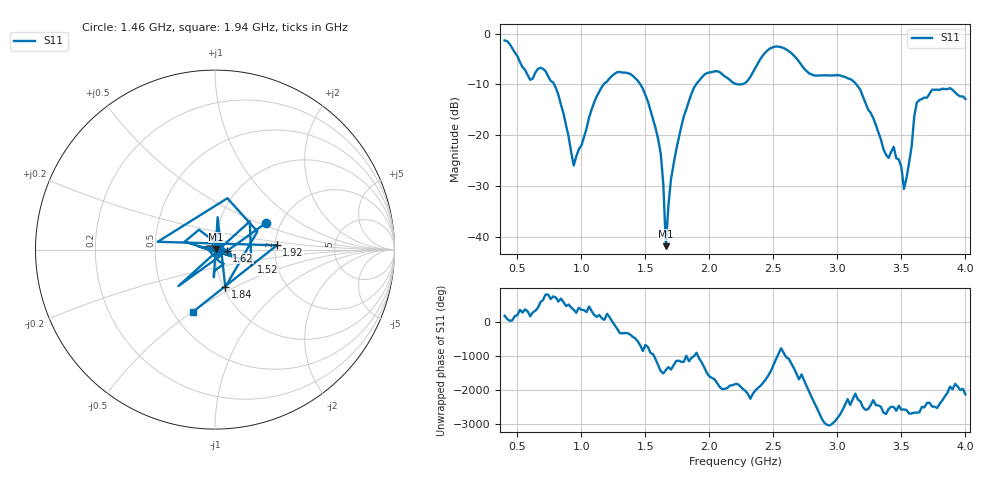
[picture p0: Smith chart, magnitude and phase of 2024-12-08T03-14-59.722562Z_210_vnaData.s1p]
!Created with skrf (http://scikit-rf.org).
# Hz S RI R 50.0
!freq ReS11 ImS11
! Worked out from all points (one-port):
!   181 points, 400 MHz to 4 GHz, reference 50 ohm
!   lowest |S11| = -41.8 dB at 1.66 GHz (marker M1), VSWR 1.02, Z = 50.7 + j0.414 ohm
!   |S11| at or under -10 dB: 787.2 MHz to 1.174 GHz (386.4 MHz wide, 39.4 % of centre); 1.461 GHz to 1.896 GHz (434.4 MHz wide, 25.9 % of centre); 3.148 GHz to end of sweep (the widest 3 of 4)
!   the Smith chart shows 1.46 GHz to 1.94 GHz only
!   S11 on the Smith chart (normalised r, x): 1.46 GHz: 1.67, +0.55; 1.52 GHz: 1.49, -0.22; 1.62 GHz: 1.14, -0.01; 1.84 GHz: 1.02, -0.45; 1.92 GHz: 2.05, +0.11; 1.94 GHz: 0.62, -0.50
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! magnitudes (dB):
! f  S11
! 400 MHz  -1.3
! 600 MHz  -9.1
! 720 MHz  -7.4
! 860 MHz  -15.7
! 940 MHz  -25.9
! 1.12 GHz  -12.3
! 1.3 GHz  -7.6
! 1.46 GHz  -9.9
! 1.52 GHz  -13.4
! 1.62 GHz  -23.7
! 1.64 GHz  -29.7
! 1.66 GHz  -41.8
! 1.7 GHz  -28.6
! 1.76 GHz  -20.6
! 1.84 GHz  -13.3
! 1.92 GHz  -9.2
! 1.94 GHz  -8.6
! 2.2 GHz  -9.9
! 2.48 GHz  -2.8
! 2.66 GHz  -4.3
! 3.1 GHz  -8.9
! 3.38 GHz  -23.8
! 3.44 GHz  -22.3
! 3.52 GHz  -30.6
! 3.56 GHz  -25.4
! 3.62 GHz  -13.6
! 3.82 GHz  -10.8
! 4 GHz  -12.8
